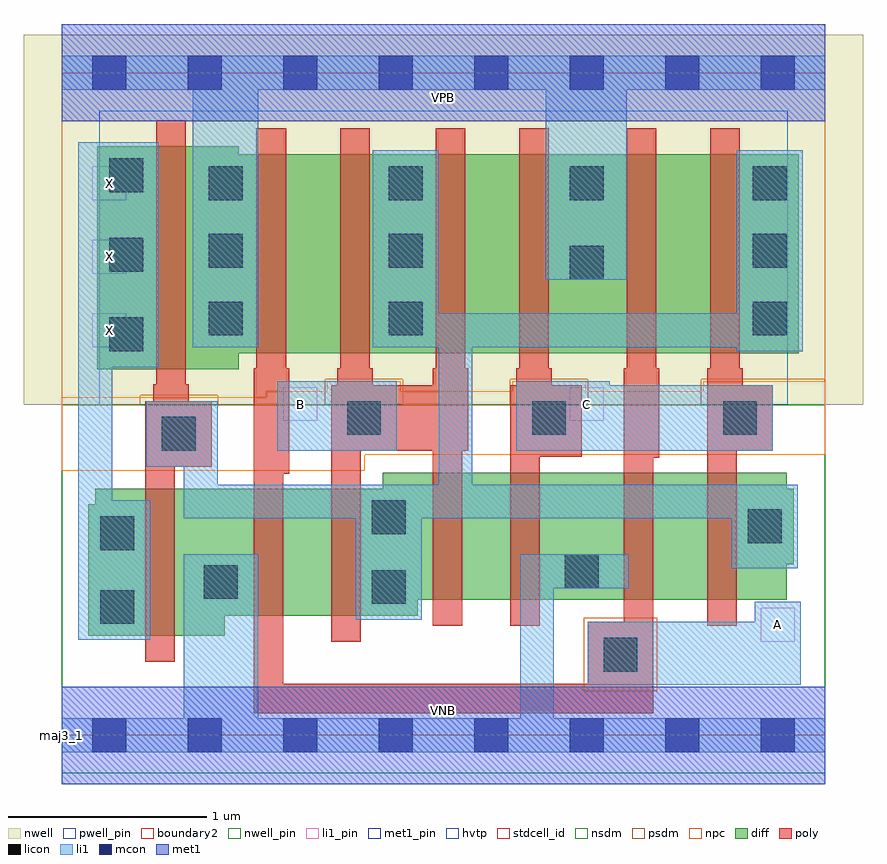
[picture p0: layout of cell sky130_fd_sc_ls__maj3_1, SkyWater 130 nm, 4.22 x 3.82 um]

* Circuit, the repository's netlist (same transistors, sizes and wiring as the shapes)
* Copyright 2020 The SkyWater PDK Authors
*
* Licensed under the Apache License, Version 2.0 (the "License");
* you may not use this file except in compliance with the License.
* You may obtain a copy of the License at
*
*     https://www.apache.org/licenses/LICENSE-2.0
*
* Unless required by applicable law or agreed to in writing, software
* distributed under the License is distributed on an "AS IS" BASIS,
* WITHOUT WARRANTIES OR CONDITIONS OF ANY KIND, either express or implied.
* See the License for the specific language governing permissions and
* limitations under the License.
*
* SPDX-License-Identifier: Apache-2.0

.SUBCKT sky130_fd_sc_ls__maj3_1 A B C VGND VNB VPB VPWR X
*.PININFO A:I B:I C:I VGND:I VNB:I VPB:I VPWR:I X:O
MMIN2 X y VGND VNB sky130_fd_pr__nfet_01v8 m=1 w=0.74U l=0.15U mult=1 sa=0.265
+ sb=0.265 sd=0.28 area=0.063 perim=1.14
MMN10 y B sndNBa VNB sky130_fd_pr__nfet_01v8 m=1 w=0.64U l=0.15U mult=1 sa=0.265
+ sb=0.265 sd=0.28 area=0.063 perim=1.14
MMN11 sndNBa A VGND VNB sky130_fd_pr__nfet_01v8 m=1 w=0.64U l=0.15U mult=1 sa=0.265
+ sb=0.265 sd=0.28 area=0.063 perim=1.14
MMN20 y B sndNBc VNB sky130_fd_pr__nfet_01v8 m=1 w=0.64U l=0.15U mult=1 sa=0.265
+ sb=0.265 sd=0.28 area=0.063 perim=1.14
MMN21 sndNBc C VGND VNB sky130_fd_pr__nfet_01v8 m=1 w=0.64U l=0.15U mult=1 sa=0.265
+ sb=0.265 sd=0.28 area=0.063 perim=1.14
MMN30 y C sndNCa VNB sky130_fd_pr__nfet_01v8 m=1 w=0.64U l=0.15U mult=1 sa=0.265
+ sb=0.265 sd=0.28 area=0.063 perim=1.14
MMN31 sndNCa A VGND VNB sky130_fd_pr__nfet_01v8 m=1 w=0.64U l=0.15U mult=1 sa=0.265
+ sb=0.265 sd=0.28 area=0.063 perim=1.14
MMIP2 X y VPWR VPB sky130_fd_pr__pfet_01v8_hvt m=1 w=1.12U l=0.15U mult=1 sa=0.265
+ sb=0.265 sd=0.28 area=0.063 perim=1.14
MMP10 VPWR A sndPAb VPB sky130_fd_pr__pfet_01v8_hvt m=1 w=1.0U l=0.15U mult=1 sa=0.265
+ sb=0.265 sd=0.28 area=0.063 perim=1.14
MMP11 sndPAb B y VPB sky130_fd_pr__pfet_01v8_hvt m=1 w=1.0U l=0.15U mult=1 sa=0.265
+ sb=0.265 sd=0.28 area=0.063 perim=1.14
MMP20 VPWR C sndPCb VPB sky130_fd_pr__pfet_01v8_hvt m=1 w=1.0U l=0.15U mult=1 sa=0.265
+ sb=0.265 sd=0.28 area=0.063 perim=1.14
MMP21 sndPCb B y VPB sky130_fd_pr__pfet_01v8_hvt m=1 w=1.0U l=0.15U mult=1 sa=0.265
+ sb=0.265 sd=0.28 area=0.063 perim=1.14
MMP30 VPWR A sndPAc VPB sky130_fd_pr__pfet_01v8_hvt m=1 w=1.0U l=0.15U mult=1 sa=0.265
+ sb=0.265 sd=0.28 area=0.063 perim=1.14
MMP31 sndPAc C y VPB sky130_fd_pr__pfet_01v8_hvt m=1 w=1.0U l=0.15U mult=1 sa=0.265
+ sb=0.265 sd=0.28 area=0.063 perim=1.14
.ENDS sky130_fd_sc_ls__maj3_1

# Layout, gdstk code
import gdstk
lib = gdstk.Library(unit=1e-6, precision=1e-09)
def R(c, l, rs):  # rectangles x0, y0, x1, y1
    for r in rs: c.add(gdstk.rectangle(r[:2], r[2:], *l))
def A(c, l, x, y, w, h, nx, ny, dx, dy):  # array of equal rectangles
    R(c, l, [(x+i*dx, y+j*dy, x+i*dx+w, y+j*dy+h) for i in range(nx) for j in range(ny)])
def P(c, l, *ps):  # polygons
    for p in ps: c.add(gdstk.Polygon(p, *l))
nwell_pin = (64, 16)
nwell = (64, 20)
diff = (65, 20)
poly = (66, 20)
licon = (66, 44)
li1_pin = (67, 16)
li1 = (67, 20)
mcon = (67, 44)
met1_pin = (68, 16)
met1 = (68, 20)
hvtp = (78, 44)
stdcell_id = (81, 4)
nsdm = (93, 44)
psdm = (94, 20)
npc = (95, 20)
pwell_pin = (122, 16)
boundary2 = (236, 0)

sky130_fd_sc_ls__maj3_1 = lib.new_cell('sky130_fd_sc_ls__maj3_1')
R(sky130_fd_sc_ls__maj3_1, nwell_pin, [(0,3.085,3.84,3.33)])
R(sky130_fd_sc_ls__maj3_1, nwell, [(-0.19,1.66,4.03,3.52)])
P(sky130_fd_sc_ls__maj3_1, diff, [(3.68,1.24),(3.645,1.24),(3.645,1.32),(1.615,1.32),(1.615,1.24),(0.17,1.24),(0.17,1.16),(0.135,1.16),(0.135,0.5),(0.82,0.5),(0.82,0.6),(1.79,0.6),(1.79,0.68),(3.645,0.68),(3.645,0.86),(3.68,0.86)],
  [(3.705,2.92),(0.89,2.92),(0.89,2.96),(0.18,2.96),(0.18,1.84),(0.89,1.84),(0.89,1.92),(3.705,1.92)])
P(sky130_fd_sc_ls__maj3_1, poly, [(3.575,1.76),(3.425,1.76),(3.425,1.845),(3.41,1.845),(3.41,3.05),(3.26,3.05),(3.26,1.845),(3.245,1.845),(3.245,0.55),(3.395,0.55),(3.395,1.43),(3.575,1.43)],
  [(3.005,1.845),(2.99,1.845),(2.99,3.05),(2.84,3.05),(2.84,1.845),(2.825,1.845),(2.825,0.57),(2.645,0.57),(2.645,0.26),(1.115,0.26),(1.115,1.315),(1.145,1.315),(1.145,1.845),(1.13,1.845),(1.13,3.05),(0.98,3.05),(0.98,1.845),(0.965,1.845),(0.965,0.11),(2.975,0.11),(2.975,1.395),(3.005,1.395)],
  [(2.615,1.76),(2.465,1.76),(2.465,1.845),(2.45,1.845),(2.45,3.05),(2.3,3.05),(2.3,1.845),(2.285,1.845),(2.285,1.76),(2.255,1.76),(2.255,0.55),(2.405,0.55),(2.405,1.4),(2.615,1.4)],
  [(2.045,1.845),(2.03,1.845),(2.03,3.05),(1.88,3.05),(1.88,1.845),(1.865,1.845),(1.865,1.76),(1.565,1.76),(1.565,1.845),(1.55,1.845),(1.55,3.05),(1.4,3.05),(1.4,1.845),(1.385,1.845),(1.385,1.76),(1.355,1.76),(1.355,0.47),(1.505,0.47),(1.505,1.43),(1.865,1.43),(1.865,0.55),(2.015,0.55),(2.015,1.43),(2.045,1.43)],
  [(0.755,1.68),(0.64,1.68),(0.64,1.765),(0.625,1.765),(0.625,3.09),(0.475,3.09),(0.475,1.765),(0.46,1.765),(0.46,1.68),(0.42,1.68),(0.42,0.37),(0.57,0.37),(0.57,1.35),(0.755,1.35)])
A(sky130_fd_sc_ls__maj3_1, licon, 0.24, 1.93, 0.17, 0.17, 1, 3, 0, 0.4)
A(sky130_fd_sc_ls__maj3_1, licon, 0.74, 2.01, 0.17, 0.17, 1, 3, 0, 0.34)
A(sky130_fd_sc_ls__maj3_1, licon, 1.645, 2.01, 0.17, 0.17, 1, 3, 0, 0.34)
A(sky130_fd_sc_ls__maj3_1, licon, 3.475, 2.01, 0.17, 0.17, 1, 3, 0, 0.34)
R(sky130_fd_sc_ls__maj3_1, licon, [(2.725,0.32,2.895,0.49), (0.195,0.56,0.365,0.73), (1.56,0.66,1.73,0.83), (0.715,0.685,0.885,0.855), (2.53,0.74,2.7,0.91), (0.195,0.93,0.365,1.1), (3.45,0.965,3.62,1.135), (1.56,1.01,1.73,1.18), (0.505,1.43,0.675,1.6), (1.435,1.51,1.605,1.68), (2.365,1.51,2.535,1.68), (3.325,1.51,3.495,1.68), (2.555,2.29,2.725,2.46), (2.555,2.69,2.725,2.86)])
A(sky130_fd_sc_ls__maj3_1, li1_pin, 0.155, 1.95, 0.17, 0.17, 1, 3, 0, 0.37)
R(sky130_fd_sc_ls__maj3_1, li1_pin, [(3.515,0.47,3.685,0.64), (1.115,1.58,1.285,1.75), (2.555,1.58,2.725,1.75)])
R(sky130_fd_sc_ls__maj3_1, li1, [(1.085,1.43,1.685,1.78)])
P(sky130_fd_sc_ls__maj3_1, li1, [(2.435,2.29),(2.435,3.245),(0.99,3.245),(0.99,1.95),(0.66,1.95),(0.66,3.245),(0,3.245),(0,3.415),(3.84,3.415),(3.84,3.245),(2.84,3.245),(2.84,2.29)],
  [(0.615,0.085),(0.615,0.91),(0.99,0.91),(0.99,0.085),(2.305,0.085),(2.305,0.91),(2.85,0.91),(2.85,0.74),(2.475,0.74),(2.475,0.085),(3.84,0.085),(3.84,-0.085),(0,-0.085),(0,0.085)],
  [(2.645,0.255),(2.645,0.57),(3.485,0.57),(3.485,0.67),(3.715,0.67),(3.715,0.255)],
  [(0.615,1.09),(0.615,1.35),(0.425,1.35),(0.425,1.68),(0.785,1.68),(0.785,1.26),(1.895,1.26),(1.895,1.95),(1.565,1.95),(1.565,2.94),(1.895,2.94),(1.895,2.12),(3.395,2.12),(3.395,2.94),(3.725,2.94),(3.725,1.93),(3.395,1.93),(3.395,1.95),(2.065,1.95),(2.065,1.26),(3.7,1.26),(3.7,0.84),(3.37,0.84),(3.37,1.09),(1.81,1.09),(1.81,0.58),(1.48,0.58),(1.48,1.09)],
  [(0.085,2.98),(0.49,2.98),(0.49,1.85),(0.255,1.85),(0.255,1.18),(0.445,1.18),(0.445,0.48),(0.085,0.48)],
  [(2.285,1.43),(2.285,1.78),(2.755,1.78),(2.755,1.76),(3.575,1.76),(3.575,1.43)])
A(sky130_fd_sc_ls__maj3_1, mcon, 0.155, -0.085, 0.17, 0.17, 8, 2, 0.48, 3.33)
R(sky130_fd_sc_ls__maj3_1, met1_pin, [(0,0,3.84,0.245), (0,3.085,3.84,3.33)])
R(sky130_fd_sc_ls__maj3_1, met1, [(0,-0.245,3.84,0.245), (0,3.085,3.84,3.575)])
R(sky130_fd_sc_ls__maj3_1, hvtp, [(0.19,1.66,3.65,3.14)])
R(sky130_fd_sc_ls__maj3_1, stdcell_id, [(0,0,3.84,3.33)])
R(sky130_fd_sc_ls__maj3_1, nsdm, [(0,-0.19,3.84,1.66)])
P(sky130_fd_sc_ls__maj3_1, psdm, [(3.84,3.52),(0,3.52),(0,1.66),(0.395,1.66),(0.395,1.71),(0.785,1.71),(0.785,1.66),(1.325,1.66),(1.325,1.79),(1.715,1.79),(1.715,1.66),(2.255,1.66),(2.255,1.79),(2.645,1.79),(2.645,1.66),(3.215,1.66),(3.215,1.79),(3.84,1.79)])
R(sky130_fd_sc_ls__maj3_1, npc, [(2.625,0.22,2.995,0.59)])
P(sky130_fd_sc_ls__maj3_1, npc, [(3.84,1.78),(3.225,1.78),(3.225,1.73),(2.635,1.73),(2.635,1.78),(2.265,1.78),(2.265,1.73),(1.705,1.73),(1.705,1.78),(1.335,1.78),(1.335,1.73),(1.03,1.73),(1.03,1.7),(0,1.7),(0,1.33),(1.525,1.33),(1.525,1.41),(3.84,1.41)])
R(sky130_fd_sc_ls__maj3_1, pwell_pin, [(0,0,3.84,0.245)])
R(sky130_fd_sc_ls__maj3_1, boundary2, [(0,0,3.84,3.33)])
sky130_fd_sc_ls__maj3_1.add(gdstk.Label('maj3_1', (0,0), layer=83, texttype=44))
sky130_fd_sc_ls__maj3_1.add(gdstk.Label('VNB', (1.92,0.123), layer=64, texttype=59))
sky130_fd_sc_ls__maj3_1.add(gdstk.Label('VPB', (1.92,3.208), layer=64, texttype=5))
sky130_fd_sc_ls__maj3_1.add(gdstk.Label('VPWR', (1.92,3.208), layer=68, texttype=5))
sky130_fd_sc_ls__maj3_1.add(gdstk.Label('VGND', (1.92,0.123), layer=68, texttype=5))
sky130_fd_sc_ls__maj3_1.add(gdstk.Label('A', (3.6,0.555), layer=67, texttype=5))
sky130_fd_sc_ls__maj3_1.add(gdstk.Label('B', (1.2,1.665), layer=67, texttype=5))
sky130_fd_sc_ls__maj3_1.add(gdstk.Label('X', (0.24,2.035), layer=67, texttype=5))
sky130_fd_sc_ls__maj3_1.add(gdstk.Label('X', (0.24,2.405), layer=67, texttype=5))
sky130_fd_sc_ls__maj3_1.add(gdstk.Label('X', (0.24,2.775), layer=67, texttype=5))
sky130_fd_sc_ls__maj3_1.add(gdstk.Label('C', (2.64,1.665), layer=67, texttype=5))

lib.write_gds('sky130_fd_sc_ls__maj3_1.gds')
